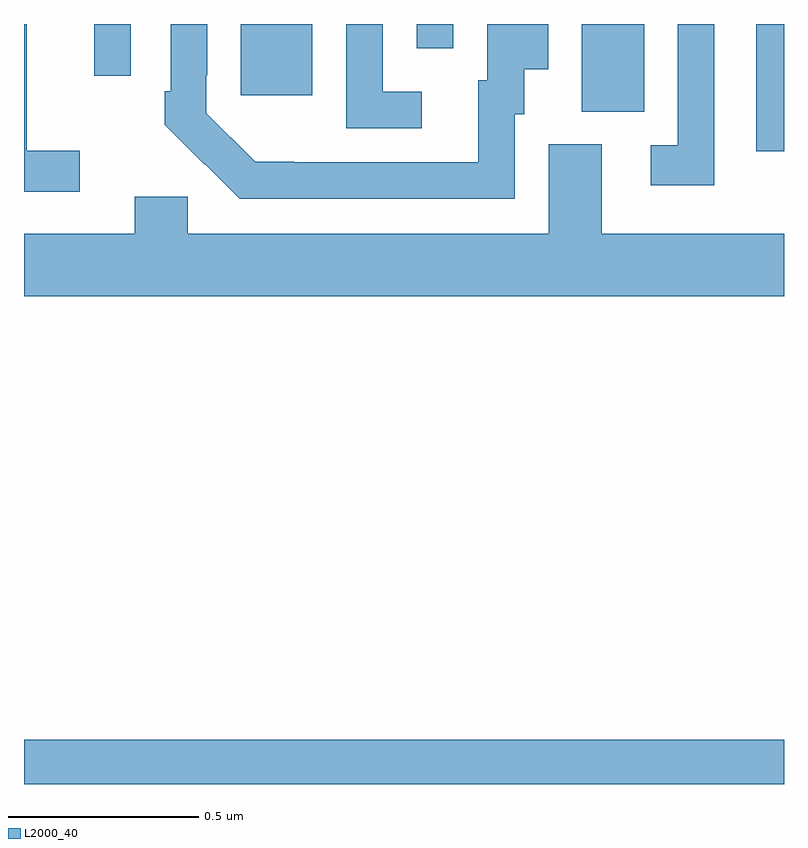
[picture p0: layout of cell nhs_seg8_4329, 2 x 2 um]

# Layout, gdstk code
import gdstk
lib = gdstk.Library(unit=1e-6, precision=1e-09)
def R(c, l, rs):  # rectangles x0, y0, x1, y1
    for r in rs: c.add(gdstk.rectangle(r[:2], r[2:], *l))
def P(c, l, *ps):  # polygons
    for p in ps: c.add(gdstk.Polygon(p, *l))
L2000_40 = (2000, 40)

nhs_seg8_4329 = lib.new_cell('nhs_seg8_4329')
R(nhs_seg8_4329, L2000_40, [(169,1097.9,171,1098.016), (170.927,1099.565,171,1099.9), (170.468,1099.669,170.632,1099.9), (169.571,1099.713,169.759,1099.9), (169.185,1099.764,169.281,1099.9), (170.034,1099.836,170.13,1099.9)])
P(nhs_seg8_4329, L2000_40, [(169.147,1099.567),(169.007,1099.567),(169.007,1099.9),(169,1099.9),(169,1099.458),(169.147,1099.458)],
  [(170.047,1099.722),(169.944,1099.722),(169.944,1099.9),(169.848,1099.9),(169.848,1099.626),(170.047,1099.626)],
  [(170.292,1099.662),(170.317,1099.662),(170.317,1099.781),(170.38,1099.781),(170.38,1099.9),(170.219,1099.9),(170.219,1099.752),(170.195,1099.752),(170.195,1099.536),(169.711,1099.536),(169.711,1099.537),(169.608,1099.537),(169.479,1099.665),(169.479,1099.765),(169.482,1099.765),(169.482,1099.9),(169.386,1099.9),(169.386,1099.723),(169.371,1099.723),(169.371,1099.635),(169.476,1099.53),(169.477,1099.531),(169.568,1099.44),(170.292,1099.44)],
  [(170.817,1099.9),(170.721,1099.9),(170.721,1099.581),(170.649,1099.581),(170.649,1099.476),(170.817,1099.476)],
  [(171,1099.348),(170.521,1099.348),(170.521,1099.584),(170.381,1099.584),(170.381,1099.348),(169.431,1099.348),(169.431,1099.446),(169.292,1099.446),(169.292,1099.348),(169,1099.348),(169,1099.184),(171,1099.184)])

lib.write_gds('nhs_seg8_4329.gds')
